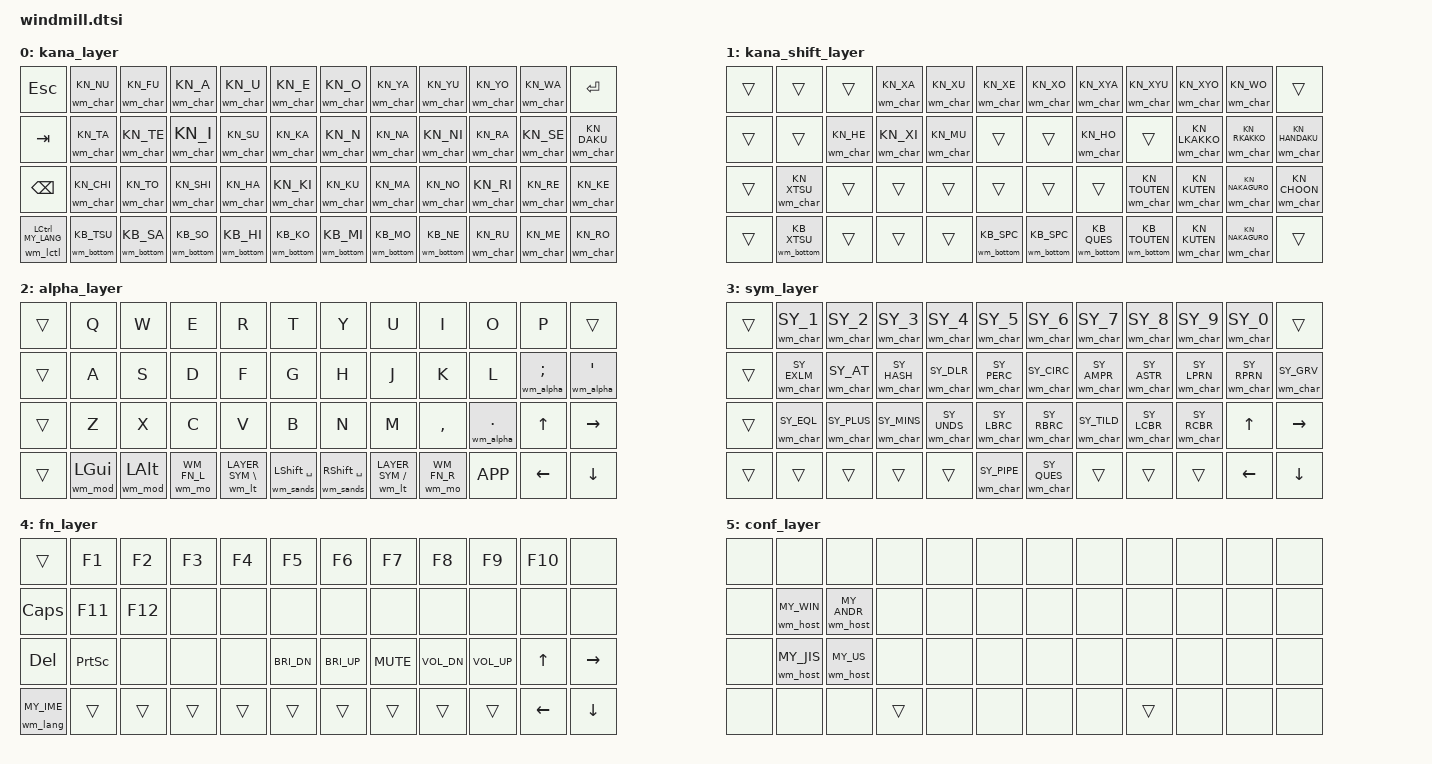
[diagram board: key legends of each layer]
/*
 * テスト用のキーマップ。config/scotch_egg.keymap と同じ並びを、native_posix_64 で
 * 動かせる形で持つ (windmill の tests/test_keymap.hpp にあたる)。各テストの
 * native_posix_64.keymap から #include "../../windmill.dtsi" で読み、kscan の
 * events だけを足す。
 *
 * 設定レイヤーの &wm_out / &bt / &bootloader / &studio_unlock は native_posix_64 では
 * 使えない (BLE も USB も無い) ので &none にしてある。それ以外は配置を変えたら両方
 * 直すこと。
 *
 * 起動のたびに英数ベースから始まる (windmill の reset_default_layer())。かなで始める
 * テストは、先に TO_KANA で MY_LCTL をタップする。
 *
 * 位置 (行, 列) とキー:
 *   かな    0,1 ぬ  1,4 す  1,7 な  1,9 ら  2,4 は  2,8 の
 *   最下段  3,0 MY_LCTL (タップで言語切替、ホールドで Ctrl + 英数レイヤー)
 *           3,1〜3,8 は &wm_bottom (タップでかな、ホールドで次の役割)
 *           3,1 つ = Win  3,2 さ = Alt  3,3 そ = 左の Fn  3,4 ひ = 左の記号
 *           3,5 こ = 左Shift + Shift 面  3,6 み = 右Shift + Shift 面
 *           3,7 も = 右の記号  3,8 ね = 右の Fn
 *   Shift 面 3,1 っ  3,5 / 3,6 空 (組にならなければ こ / み)  3,7 ？ (半角)  3,8 、
 *   英数    0,1 q  1,1 a  1,10 ;  1,11 '  2,8 ,  2,9 .  3,1 Win  3,2 Alt  3,3 左の Fn
 *           3,4 LT(記号, \)  3,5 左の SandS  3,6 右の SandS  3,7 LT(記号, /)  3,8 右の Fn
 *   Fn      0,0 Esc (透過)  0,1〜0,10 F1〜F10  1,0 Caps Lock  1,1 F11  1,2 F12
 *           3,0 MY_IME (3,3 で Fn を上げたまま叩く。FN_TAP を使う)
 *   設定    1,1 MY_WIN  1,2 MY_ANDR  2,1 MY_JIS  2,2 MY_US
 *           (3,3 で Fn を上げたまま 3,8 を押すと上がる。CONF_TAP を使う)
 */

#include <behaviors.dtsi>
#include <behaviors/windmill.dtsi>
#include <dt-bindings/zmk/keys.h>
#include <dt-bindings/zmk/kscan_mock.h>

&kscan {
    rows = <4>;
    columns = <12>;
};

/* 50ms 押して離し、50ms 置く (windmill のテストの tap_all と同じ叩き方)。1文字の送出は
 * 長くても 100ms ほどなので、続けて叩くと前の文字の送出と重なることがある */
#define TAP(row, col) ZMK_MOCK_PRESS(row, col, 50) ZMK_MOCK_RELEASE(row, col, 50)

/* 時刻を並べて押し離しする (windmill のテストの BottomRow::play())。gap は次のイベント
 * までの ms。ZMK_MOCK_PRESS / RELEASE に書いた待ちは、実際には次のイベントまで 1ms 長く
 * なる (k_work_schedule の相対指定は1ティック余分に待つ) ので、その分を引いておく。
 * 最下段のタップ・ホールドの境界 (150ms / 250ms ちょうど) を ms 単位で固定するため */
#define DN_GAP(row, col, gap) ZMK_MOCK_PRESS(row, col, ((gap) - 1))
#define UP_GAP(row, col, gap) ZMK_MOCK_RELEASE(row, col, ((gap) - 1))

/* 設定レイヤーのキーを叩く (windmill のテストの tap_on_conf と同じく、左右の Fn を
 * 押してから叩き、逆の順で離す) */
#define CONF_TAP(row, col)                                                                         \
    ZMK_MOCK_PRESS(3, 3, 50) ZMK_MOCK_PRESS(3, 8, 50) TAP(row, col) ZMK_MOCK_RELEASE(3, 8, 50)    \
        ZMK_MOCK_RELEASE(3, 3, 50)

/* Fn レイヤーのキーを叩く (windmill のテストの tap_with_fn と同じく、左の Fn を押して
 * から叩いて離す) */
#define FN_TAP(row, col) ZMK_MOCK_PRESS(3, 3, 250) TAP(row, col) ZMK_MOCK_RELEASE(3, 3, 120)

/* 起動直後の英数から、MY_LCTL のタップでかなへ移る */
#define TO_KANA TAP(3, 0)

/ {
    keymap {
        compatible = "zmk,keymap";

        kana_layer {
            bindings = <
&kp ESC                 &wm_char KN_NU   &wm_char KN_FU   &wm_char KN_A    &wm_char KN_U    &wm_char KN_E    &wm_char KN_O    &wm_char KN_YA   &wm_char KN_YU   &wm_char KN_YO   &wm_char KN_WA   &kp RET
&kp TAB                 &wm_char KN_TA   &wm_char KN_TE   &wm_char KN_I    &wm_char KN_SU   &wm_char KN_KA   &wm_char KN_N    &wm_char KN_NA   &wm_char KN_NI   &wm_char KN_RA   &wm_char KN_SE   &wm_char KN_DAKU
&kp BSPC                &wm_char KN_CHI  &wm_char KN_TO   &wm_char KN_SHI  &wm_char KN_HA   &wm_char KN_KI   &wm_char KN_KU   &wm_char KN_MA   &wm_char KN_NO   &wm_char KN_RI   &wm_char KN_RE   &wm_char KN_KE
&wm_lctl LCTRL MY_LANG  &wm_bottom KB_TSU  &wm_bottom KB_SA  &wm_bottom KB_SO  &wm_bottom KB_HI  &wm_bottom KB_KO  &wm_bottom KB_MI  &wm_bottom KB_MO  &wm_bottom KB_NE  &wm_char KN_RU  &wm_char KN_ME  &wm_char KN_RO
            >;
        };

        kana_shift_layer {
            bindings = <
&trans  &trans              &trans          &wm_char KN_XA   &wm_char KN_XU   &wm_char KN_XE      &wm_char KN_XO      &wm_char KN_XYA     &wm_char KN_XYU       &wm_char KN_XYO     &wm_char KN_WO        &trans
&trans  &trans              &wm_char KN_HE  &wm_char KN_XI   &wm_char KN_MU   &trans              &trans              &wm_char KN_HO      &trans                &wm_char KN_LKAKKO  &wm_char KN_RKAKKO    &wm_char KN_HANDAKU
&trans  &wm_char KN_XTSU    &trans          &trans           &trans           &trans              &trans              &trans              &wm_char KN_TOUTEN    &wm_char KN_KUTEN   &wm_char KN_NAKAGURO  &wm_char KN_CHOON
&trans  &wm_bottom KB_XTSU  &trans          &trans           &trans           &wm_bottom KB_SPC   &wm_bottom KB_SPC   &wm_bottom KB_QUES  &wm_bottom KB_TOUTEN  &wm_char KN_KUTEN   &wm_char KN_NAKAGURO  &trans
            >;
        };

        alpha_layer {
            bindings = <
&trans  &kp Q         &kp W         &kp E           &kp R                  &kp T                  &kp Y                  &kp U                  &kp I           &kp O      &kp P            &trans
&trans  &kp A         &kp S         &kp D           &kp F                  &kp G                  &kp H                  &kp J                  &kp K           &kp L      &wm_alpha SEMI   &wm_alpha SQT
&trans  &kp Z         &kp X         &kp C           &kp V                  &kp B                  &kp N                  &kp M                  &kp COMMA       &wm_alpha DOT  &kp UP       &kp RIGHT
&trans  &wm_mod LGUI  &wm_mod LALT  &wm_mo WM_FN_L  &wm_lt LAYER_SYM BSLH  &wm_sands LSHFT SPACE  &wm_sands RSHFT SPACE  &wm_lt LAYER_SYM FSLH  &wm_mo WM_FN_R  &kp K_APP  &kp LEFT         &kp DOWN
            >;
        };

        sym_layer {
            bindings = <
&trans  &wm_char SY_1     &wm_char SY_2     &wm_char SY_3     &wm_char SY_4     &wm_char SY_5     &wm_char SY_6     &wm_char SY_7     &wm_char SY_8     &wm_char SY_9     &wm_char SY_0     &trans
&trans  &wm_char SY_EXLM  &wm_char SY_AT    &wm_char SY_HASH  &wm_char SY_DLR   &wm_char SY_PERC  &wm_char SY_CIRC  &wm_char SY_AMPR  &wm_char SY_ASTR  &wm_char SY_LPRN  &wm_char SY_RPRN  &wm_char SY_GRV
&trans  &wm_char SY_EQL   &wm_char SY_PLUS  &wm_char SY_MINS  &wm_char SY_UNDS  &wm_char SY_LBRC  &wm_char SY_RBRC  &wm_char SY_TILD  &wm_char SY_LCBR  &wm_char SY_RCBR  &kp UP            &kp RIGHT
&trans  &trans            &trans            &trans            &trans            &wm_char SY_PIPE  &wm_char SY_QUES  &trans            &trans            &trans            &kp LEFT          &kp DOWN
            >;
        };

        fn_layer {
            bindings = <
&trans           &kp F1     &kp F2   &kp F3          &kp F4   &kp F5        &kp F6        &kp F7      &kp F8          &kp F9        &kp F10    &none
&kp CAPS         &kp F11    &kp F12  &none           &none    &none         &none         &none       &none           &none         &none      &none
&kp DEL          &kp PSCRN  &none    &none           &none    &kp C_BRI_DN  &kp C_BRI_UP  &kp C_MUTE  &kp C_VOL_DN    &kp C_VOL_UP  &kp UP     &kp RIGHT
&wm_lang MY_IME  &trans     &trans   &trans          &trans   &trans        &trans        &trans      &trans          &trans        &kp LEFT   &kp DOWN
            >;
        };

        conf_layer {
            bindings = <
&none  &none            &none             &none   &none  &none  &none  &none  &none   &none  &none  &none
&none  &wm_host MY_WIN  &wm_host MY_ANDR  &none   &none  &none  &none  &none  &none   &none  &none  &none
&none  &wm_host MY_JIS  &wm_host MY_US    &none   &none  &none  &none  &none  &none   &none  &none  &none
&none  &none            &none             &trans  &none  &none  &none  &none  &trans  &none  &none  &none
            >;
        };
    };
};
